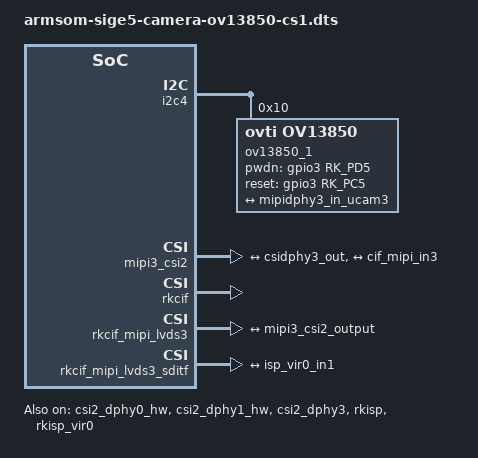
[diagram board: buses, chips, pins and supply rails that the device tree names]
/dts-v1/;
/plugin/;

#include <dt-bindings/clock/rockchip,rk3576-cru.h>
#include <dt-bindings/power/rk3576-power.h>
#include <dt-bindings/gpio/gpio.h>
#include <dt-bindings/pinctrl/rockchip.h>

/ {
    fragment@0 {
        target = <&i2c4>;
        __overlay__ {
            status = "okay";
            pinctrl-names = "default";
            pinctrl-0 = <&i2c4m3_xfer>;
            ov13850_1: ov13850_1@10 {
                status = "okay";
                compatible = "ovti,ov13850";
                reg = <0x10>;
                clocks = <&cru CLK_MIPI_CAMERAOUT_M2>;
                clock-names = "xvclk";
                pinctrl-names = "default";
                pinctrl-0 = <&cam_clk2m0_clk2>;
                pwdn-gpios = <&gpio3 RK_PD5 GPIO_ACTIVE_HIGH>;
                reset-gpios = <&gpio3 RK_PC5 GPIO_ACTIVE_HIGH>;
                rockchip,camera-module-index = <1>;
                rockchip,camera-module-facing = "back";
                rockchip,camera-module-name = "ZC-OV13850R2A-V1";
                rockchip,camera-module-lens-name = "Largan-50064B31";
                port {
                    ov13850_out1: endpoint {
                        remote-endpoint = <&mipidphy3_in_ucam3>;
                        data-lanes = <1 2 3 4>;
                    };
                };
            };
        };
    };

    fragment@1 {
        target = <&csi2_dphy0_hw>;
        __overlay__ {
            status = "okay";
        };
    };

    fragment@2 {
        target = <&csi2_dphy1_hw>;
        __overlay__ {
            status = "okay";
        };
    };

    fragment@3 {
        target = <&csi2_dphy3>;
        __overlay__ {
            status = "okay";
            ports {
                #address-cells = <1>;
                #size-cells = <0>;

                port@0 {
                    reg = <0>;
                    #address-cells = <1>;
                    #size-cells = <0>;

                    mipidphy3_in_ucam3: endpoint@1 {
                        reg = <1>;
                        remote-endpoint = <&ov13850_out1>;
                        data-lanes = <1 2 3 4>;
                    };
                };

                port@1 {
                    reg = <1>;
                    #address-cells = <1>;
                    #size-cells = <0>;

                    csidphy3_out: endpoint@0 {
                        reg = <0>;
                        remote-endpoint = <&mipi4_csi2_input>;
                    };
                };
            };
        };
    };

    fragment@4 {
        target = <&mipi3_csi2>;
        __overlay__ {
            status = "okay";
            ports {
                #address-cells = <1>;
                #size-cells = <0>;

                port@0 {
                    reg = <0>;
                    #address-cells = <1>;
                    #size-cells = <0>;

                    mipi4_csi2_input: endpoint@1 {
                        reg = <1>;
                        remote-endpoint = <&csidphy3_out>;
                    };
                };

                port@1 {
                    reg = <1>;
                    #address-cells = <1>;
                    #size-cells = <0>;

                    mipi3_csi2_output: endpoint@0 {
                        reg = <0>;
                        remote-endpoint = <&cif_mipi_in3>;
                    };
                };
            };
        };
    };

    fragment@5 {
        target = <&rkcif>;
        __overlay__ {
            status = "okay";
        };
    };

    fragment@6 {
        target = <&rkcif_mipi_lvds3>;
        __overlay__ {
            status = "okay";
            port {
                cif_mipi_in3: endpoint {
                    remote-endpoint = <&mipi3_csi2_output>;
                };
            };
        };
    };

    fragment@7 {
        target = <&rkcif_mipi_lvds3_sditf>;
        __overlay__ {
            status = "okay";
            port {
                mipi_lvds3_sditf: endpoint {
                    remote-endpoint = <&isp_vir0_in1>;
                };
            };
        };
    };

    fragment@8 {
        target = <&rkcif_mmu>;
        __overlay__ {
            status = "okay";
        };
    };

    fragment@9 {
        target = <&rkisp>;
        __overlay__ {
            status = "okay";
        };
    };

    fragment@10 {
        target = <&rkisp_mmu>;
        __overlay__ {
            status = "okay";
        };
    };

    fragment@11 {
        target = <&rkisp_vir0>;
        __overlay__ {
            status = "okay";
            port {
                #address-cells = <1>;
                #size-cells = <0>;

                isp_vir0_in1: endpoint@0 {
                    reg = <0>;
                    remote-endpoint = <&mipi_lvds3_sditf>;
                };
            };
        };
    };
};
